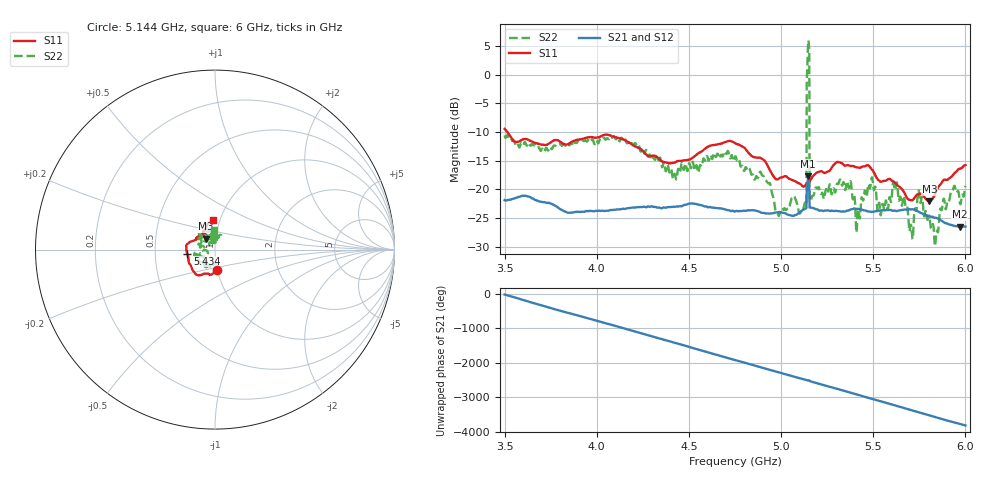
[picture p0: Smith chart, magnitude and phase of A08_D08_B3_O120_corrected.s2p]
! Created with skrf 1.9.0 (http://scikit-rf.org).
# Hz S RI R 50.0
!freq ReS11 ImS11 ReS21 ImS21 ReS12 ImS12 ReS22 ImS22
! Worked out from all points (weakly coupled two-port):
!   1601 points, 3.5 GHz to 6 GHz, reference 50 ohm
!   highest |S21| = -17.72 dB at 5.147 GHz (marker M1); lowest = -26.5 dB at 5.97 GHz (marker M2)
!   lowest |S11| = -22.1 dB at 5.805 GHz (marker M3), VSWR 1.17, Z = 45 + j5.6 ohm
!   |S11| at or under -10 dB: 3.515 GHz to end of sweep
!   |S22| runs from -29.9 to 5.9 dB; largest |S21 - S12| = 0.0015
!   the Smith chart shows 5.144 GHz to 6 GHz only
!   S11 on the Smith chart (normalised r, x): 5.144 GHz: 1.00, -0.23; 5.434 GHz: 0.73, -0.03; 6 GHz: 0.93, +0.31
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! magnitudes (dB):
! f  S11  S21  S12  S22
! 3.5 GHz  -9.5  -21.9  -21.8  -10.6
! 3.917 GHz  -11.3  -23.9  -23.9  -11.4
! 4.334 GHz  -14.6  -23.1  -23.1  -14.9
! 4.75 GHz  -12.0  -23.9  -23.8  -14.3
! 4.98 GHz  -18.3  -24.0  -24.0  -24.1
! 5.108 GHz  -19.1  -23.8  -23.8  -23.9
! 5.125 GHz  -19.5  -23.5  -23.5  -22.8
! 5.144 GHz  -18.9  -18.7  -18.7  3.0
! 5.147 GHz  -18.8  -17.7  -17.8  5.6
! 5.167 GHz  -17.9  -23.2  -23.2  -21.3
! 5.328 GHz  -15.4  -23.9  -23.8  -19.1
! 5.434 GHz  -16.1  -23.5  -23.5  -22.0
! 5.486 GHz  -16.3  -23.9  -23.9  -19.2
! 5.584 GHz  -18.2  -23.6  -23.6  -22.1
! 5.62 GHz  -18.9  -23.7  -23.7  -19.9
! 5.706 GHz  -21.9  -23.5  -23.5  -26.3
! 5.753 GHz  -20.8  -24.0  -24.0  -21.8
! 5.805 GHz  -22.1  -24.6  -24.6  -24.8
! 5.842 GHz  -20.3  -24.9  -24.9  -27.6
! 5.875 GHz  -18.6  -25.5  -25.5  -22.9
! 5.97 GHz  -16.4  -26.5  -26.5  -22.4
! 6 GHz  -15.8  -26.5  -26.4  -19.4
